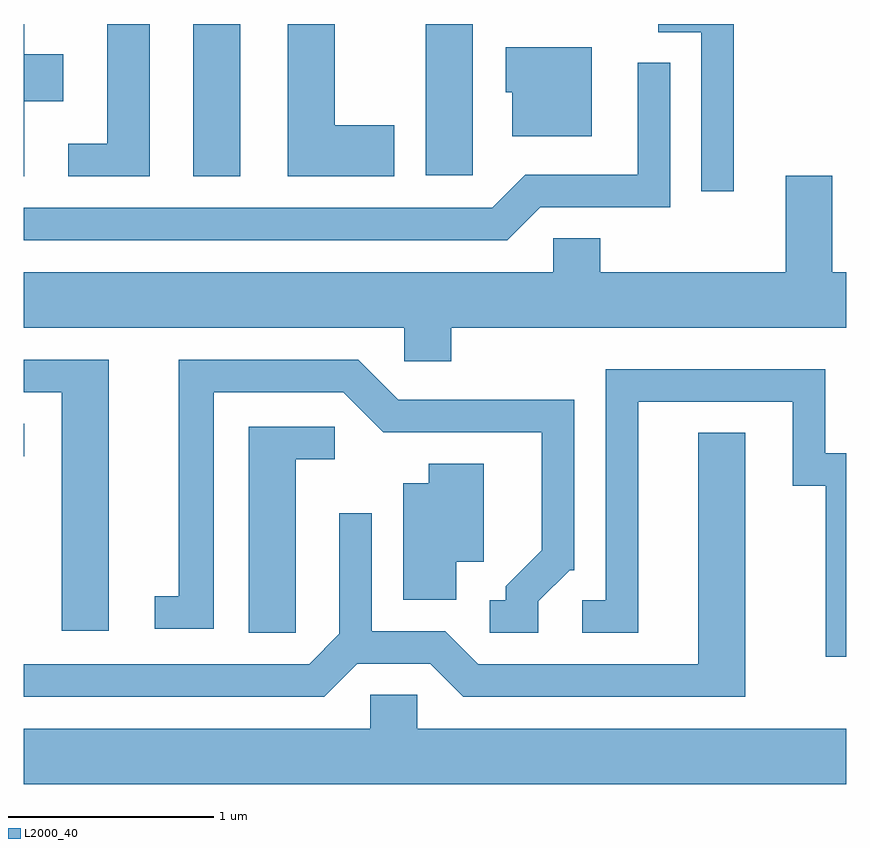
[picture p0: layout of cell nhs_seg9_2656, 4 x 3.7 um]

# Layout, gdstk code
import gdstk
lib = gdstk.Library(unit=1e-6, precision=1e-09)
def R(c, l, rs):  # rectangles x0, y0, x1, y1
    for r in rs: c.add(gdstk.rectangle(r[:2], r[2:], *l))
def P(c, l, *ps):  # polygons
    for p in ps: c.add(gdstk.Polygon(p, *l))
L2000_40 = (2000, 40)

nhs_seg9_2656 = lib.new_cell('nhs_seg9_2656')
R(nhs_seg9_2656, L2000_40, [(263.611,1962.331,263.613,1962.489), (264.436,1963.691,264.664,1964.432), (265.566,1963.696,265.794,1964.432)])
P(nhs_seg9_2656, L2000_40, [(267.064,1964.432),(266.696,1964.432),(266.696,1964.391),(266.906,1964.391),(266.906,1963.618),(267.064,1963.618)],
  [(265.414,1963.939),(265.124,1963.939),(265.124,1964.432),(264.896,1964.432),(264.896,1963.691),(265.414,1963.691)],
  [(264.224,1964.432),(264.016,1964.432),(264.016,1963.849),(263.828,1963.849),(263.828,1963.691),(264.224,1963.691)],
  [(263.614,1964.056),(263.804,1964.056),(263.804,1964.284),(263.614,1964.284),(263.614,1964.432),(263.611,1964.432),(263.611,1963.691),(263.614,1963.691)],
  [(266.374,1964.319),(265.956,1964.319),(265.956,1964.101),(265.986,1964.101),(265.986,1963.886),(266.374,1963.886)],
  [(266.122,1963.541),(266.754,1963.541),(266.754,1964.243),(266.596,1964.243),(266.596,1963.699),(266.049,1963.699),(265.889,1963.539),(263.611,1963.539),(263.611,1963.381),(265.962,1963.381)],
  [(265.689,1962.956),(267.611,1962.956),(267.611,1963.224),(267.544,1963.224),(267.544,1963.694),(267.316,1963.694),(267.316,1963.224),(266.414,1963.224),(266.414,1963.389),(266.186,1963.389),(266.186,1963.224),(263.611,1963.224),(263.611,1962.956),(265.461,1962.956),(265.461,1962.791),(265.689,1962.791)],
  [(264.024,1962.799),(263.611,1962.799),(263.611,1962.641),(263.796,1962.641),(263.796,1961.481),(264.024,1961.481)],
  [(266.114,1961.624),(266.267,1961.776),(266.289,1961.776),(266.289,1962.604),(265.432,1962.604),(265.237,1962.799),(264.366,1962.799),(264.366,1961.649),(264.248,1961.649),(264.248,1961.491),(264.534,1961.491),(264.534,1962.641),(265.164,1962.641),(265.359,1962.446),(266.131,1962.446),(266.131,1961.872),(265.956,1961.697),(265.956,1961.629),(265.878,1961.629),(265.878,1961.471),(266.114,1961.471)],
  [(267.611,1962.344),(267.509,1962.344),(267.509,1962.754),(266.441,1962.754),(266.441,1961.629),(266.328,1961.629),(266.328,1961.471),(266.599,1961.471),(266.599,1962.596),(267.351,1962.596),(267.351,1962.186),(267.511,1962.186),(267.511,1961.356),(267.611,1961.356)],
  [(264.934,1962.316),(265.123,1962.316),(265.123,1962.474),(264.706,1962.474),(264.706,1961.471),(264.934,1961.471)],
  [(265.232,1961.321),(265.589,1961.321),(265.749,1961.161),(267.119,1961.161),(267.119,1962.444),(266.891,1962.444),(266.891,1961.319),(265.822,1961.319),(265.662,1961.479),(265.304,1961.479),(265.304,1962.053),(265.146,1962.053),(265.146,1961.467),(264.999,1961.319),(263.611,1961.319),(263.611,1961.161),(265.072,1961.161)],
  [(265.714,1961.816),(265.849,1961.816),(265.849,1962.294),(265.581,1962.294),(265.581,1962.199),(265.456,1962.199),(265.456,1961.631),(265.714,1961.631)],
  [(267.611,1961.004),(265.524,1961.004),(265.524,1961.169),(265.296,1961.169),(265.296,1961.004),(263.611,1961.004),(263.611,1960.736),(267.611,1960.736)])

lib.write_gds('nhs_seg9_2656.gds')
